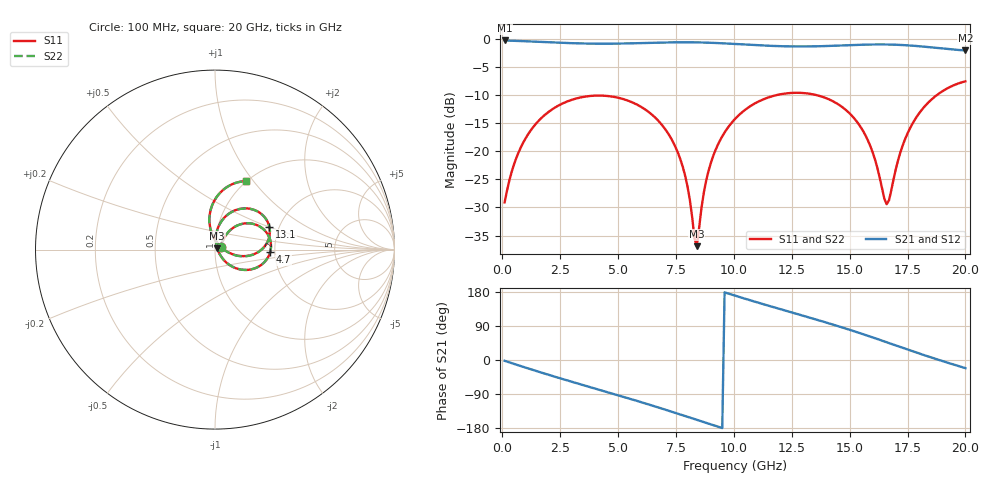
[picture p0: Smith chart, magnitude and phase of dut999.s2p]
! Touchstone file exported from HFSS 2026.1.0
!  File:  C:/ffzhzh/LocalFiles/Ansys_Project_Files/temp_train_TSV_RDL_999_1783289844_38704.aedt
!  Generated:  06:30:38 AM Jul  6, 2026
!  Design:  TSV_RDL
!  Project:  temp_train_TSV_RDL_999_1783289844_38704
! Variables:
!  h_bsmrdl = 4.1um
!  h_ox = 20um
!  h_rdl = 5um
!  h_sub = 95.32um
!  h_tmrdl = 3.97um
!  h_tsv = 95.32um
!  h_via = 3um
!  l_bsmrdl = 859.07um
!  l_sub = 5889.75um
!  l_tmrdl = 699.11um
!  m_sub = 200um
!  pitch = 33.15um
!  r_tsv = 7.27um
!  s_tmrdl = 10um
!  w_bsmrdl = 27.33um
!  w_sub = 500um
!  w_tmrdl = 11.37um
!  x_tsv_center1 = 704.795um
!  x_tsv_center2 = 1591.195um
!  x_tsv_center3 = 2301.675um
!  x_tsv_center4 = 3188.075um
!  x_tsv_center5 = 3898.555um
!  x_tsv_center6 = 4784.955um
# GHz S MA R 50.000000
! Terminal data exported
! Port[1] = TM_RDL1_1_T1
! Port[2] = TM_RDL5_1_T1
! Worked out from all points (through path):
!   200 points, 100 MHz to 20 GHz, reference 50 ohm
!   highest |S21| = -0.28 dB at 100 MHz (marker M1); lowest = -2.1 dB at 20 GHz (marker M2)
!   group delay of S21, straight-line fit = 52.6 ps
!   lowest |S11| = -36.9 dB at 8.4 GHz (marker M3), VSWR 1.03, Z = 51.3 + j0.716 ohm
!   |S11| at or under -10 dB: start of sweep to 11.85 GHz; 13.56 GHz to 18.77 GHz (5.206 GHz wide, 32.2 % of centre)
!   |S22| runs from -36.5 to -7.6 dB; largest |S21 - S12| = 2.2e-14
!   S11 on the Smith chart (normalised r, x): 100 MHz: 1.07, +0.03; 4.7 GHz: 1.89, -0.06; 13.1 GHz: 1.77, +0.51; 20 GHz: 1.00, +0.92
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0.1  0.03509 23.4  0.9682 -2.1  0.9682 -2.1  0.03509 23.4
! Gamma 0 0 0 0
! Port Impedance 50 0 50 0
0.6  0.08657 52.1  0.9593 -12.2  0.9593 -12.2  0.08657 52.1
1.3  0.1606 49.9  0.9474 -25.8  0.9474 -25.8  0.1606 49.9
3.5  0.3045 17.0  0.9098 -66.4  0.9098 -66.4  0.3045 17.0
4.7  0.3075 -2.7  0.9063 -87.7  0.9063 -87.7  0.3075 -2.7
6.8  0.1809 -37.8  0.9273 -126.4  0.9273 -126.4  0.1809 -37.7
7.8  0.07196 -49.9  0.9333 -146.0  0.9333 -146.0  0.07202 -49.3
8.4  0.01431 29.2  0.9309 -157.9  0.9309 -157.9  0.01505 28.9
8.7  0.04245 82.5  0.9277 -163.9  0.9277 -163.9  0.04279 81.5
9  0.07799 85.7  0.9234 -169.8  0.9234 -169.8  0.07822 85.1
10.1  0.1987 71.6  0.9 168.9  0.9 168.9  0.1988 71.4
11.5  0.3016 48.7  0.8686 143.2  0.8686 143.2  0.3018 48.5
13.1  0.3284 22.9  0.8562 114.9  0.8562 114.9  0.3284 22.7
13.4  0.3216 18.1  0.8577 109.6  0.8577 109.6  0.3216 17.9
15.4  0.1733 -12.0  0.8855 71.8  0.8855 71.8  0.1733 -12.4
16  0.09725 -14.5  0.8916 59.5  0.8916 59.5  0.09702 -15.0
16.5  0.03782 18.6  0.892 49.0  0.892 49.0  0.03708 17.8
16.7  0.03656 63.9  0.8907 44.8  0.8907 44.8  0.03576 64.3
17.2  0.09891 101.4  0.8833 34.2  0.8833 34.2  0.0986 101.8
17.8  0.1885 99.2  0.8673 21.5  0.8673 21.5  0.1884 99.4
18.8  0.3199 84.6  0.83 1.3  0.83 1.3  0.3198 84.6
20  0.4191 65.3  0.7887 -21.4  0.7887 -21.4  0.4191 65.3
